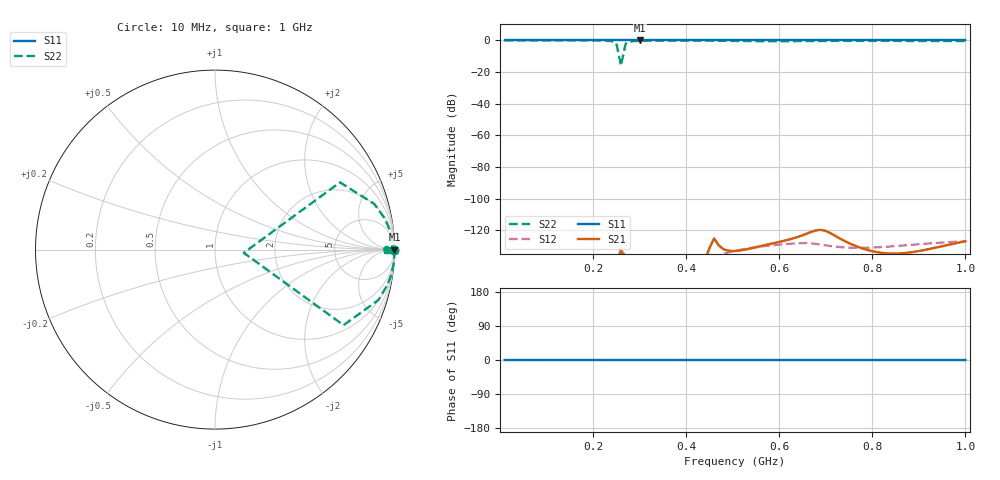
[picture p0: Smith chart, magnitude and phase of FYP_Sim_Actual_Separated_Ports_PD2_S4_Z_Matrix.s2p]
! Touchstone file from project FYP_Sim_Actual_Separated_Ports
! Exported from HFSS 13.0.2
# GHZ Z MA R 50.000000
! Terminal data exported
! Port[1] = PD2_Incision_Port_T1
! Port[2] = Radiating_Plate_T1
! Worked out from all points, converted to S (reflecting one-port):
!   100 points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, 10 MHz to 1 GHz, reference 50 ohm
!   lowest |S11| = 0.0 dB at 300 MHz (marker M1)
!   phase of S11 starts at -0 deg and turns -0 deg over the sweep
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0.01  3.132e+05 -90.0  0.002483 164.8  0.000295 -30.5  802.4 -89.2
0.12  2.61e+04 -90.0  0.001099 47.1  0.001135 46.8  56.55 -89.0
0.18  1.74e+04 -90.0  0.002121 134.4  0.002079 135.7  26.86 -88.4
0.21  1.491e+04 -90.0  0.002669 -170.4  0.002651 -170.0  16.21 -87.1
0.22  1.424e+04 -90.0  0.00284 -147.7  0.002878 -149.1  12.92 -86.1
0.23  1.362e+04 -90.0  0.002976 -122.9  0.003102 -127.0  9.703 -84.3
0.24  1.305e+04 -90.0  0.00306 -97.1  0.0033 -104.2  6.545 -80.7
0.25  1.253e+04 -90.0  0.003096 -71.4  0.003448 -81.3  3.481 -69.8
0.26  1.204e+04 -90.0  0.003106 -46.9  0.003536 -58.9  1.382 -2.1
0.27  1.159e+04 -90.0  0.003116 -24.3  0.003573 -37.5  3.603 63.4
0.28  1.118e+04 -90.0  0.003148 -3.9  0.003576 -17.1  6.859 73.8
0.29  1.078e+04 -89.9  0.00321 14.5  0.003567 2.3  10.34 77.2
0.3  1.042e+04 -89.8  0.003306 31.2  0.003565 21.1  14.04 78.5
0.32  9818 -90.0  0.003628 59.8  0.003671 57.2  22.28 78.8
0.34  9228 -90.0  0.004087 85.0  0.004027 94.3  32.21 77.3
0.41  7649 -90.0  0.009224 -176.4  0.01866 -148.5  98.68 48.2
0.51  6147 -90.0  0.03704 58.2  0.03808 -43.1  52.33 -23.6
0.58  5402 -90.0  0.03524 97.3  0.0315 37.2  34.23 -1.2
0.62  5050 -90.0  0.04838 120.0  0.03559 89.5  36.75 13.0
0.67  4672 -90.0  0.09926 167.2  0.04231 178.7  46.01 20.1
0.84  3725 -90.0  0.0209 -24.4  0.03519 -34.1  59.96 -4.9
1  3127 -90.0  0.03415 18.9  0.03415 18.9  47.38 -6.3
